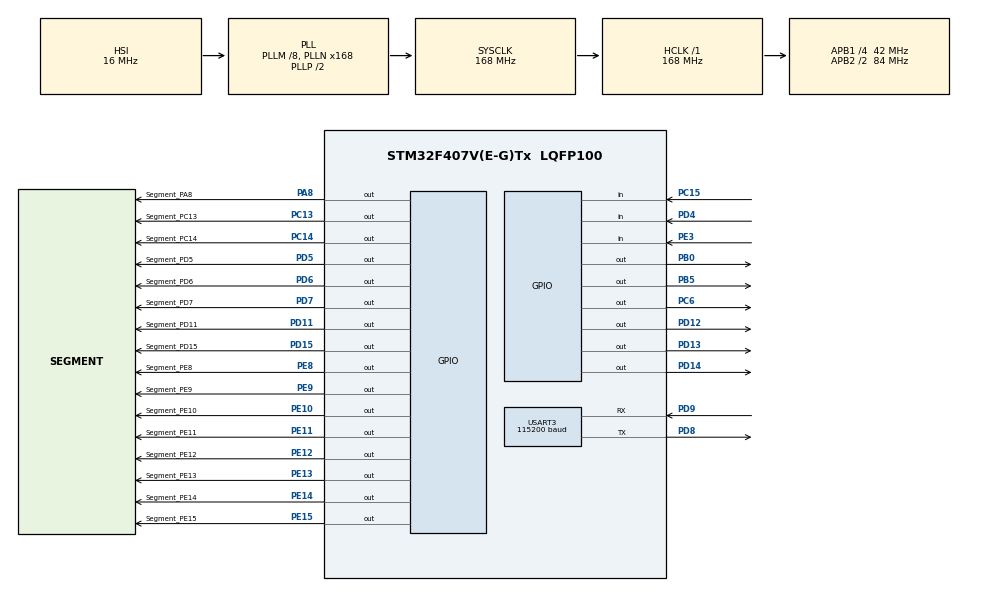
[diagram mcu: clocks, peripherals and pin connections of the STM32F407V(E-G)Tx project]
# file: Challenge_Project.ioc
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Mcu.Family=STM32F4
Mcu.Name=STM32F407V(E-G)Tx
Mcu.Package=LQFP100
NVIC.PriorityGroup=NVIC_PRIORITYGROUP_4
NVIC.TIM6_DAC_IRQn=true\:0\:0\:false\:true\:true\:1\:true\:true\:true
NVIC.USART3_IRQn=true\:0\:0\:false\:true\:true\:2\:true\:true\:true
PA8.GPIO_Label=Segment_PA8
PA8.Signal=GPIO_Output
PA8.Stacked=true
PB0.Signal=GPIO_Output
PB5.Signal=GPIO_Output
PC13-ANTI_TAMP.GPIO_Label=Segment_PC13
PC13-ANTI_TAMP.Signal=GPIO_Output
PC14-OSC32_IN.GPIO_Label=Segment_PC14
PC14-OSC32_IN.Signal=GPIO_Output
PC15-OSC32_OUT.Signal=GPIO_Input
PC6.Signal=GPIO_Output
PD11.GPIO_Label=Segment_PD11
PD11.Signal=GPIO_Output
PD12.Signal=GPIO_Output
PD13.Signal=GPIO_Output
PD14.Signal=GPIO_Output
PD15.GPIO_Label=Segment_PD15
PD15.Signal=GPIO_Output
PD4.Signal=GPIO_Input
PD5.GPIO_Label=Segment_PD5
PD5.Signal=GPIO_Output
PD6.GPIO_Label=Segment_PD6
PD6.Signal=GPIO_Output
PD7.GPIO_Label=Segment_PD7
PD7.Signal=GPIO_Output
PD8.Mode=Asynchronous
PD8.Signal=USART3_TX
PD9.Mode=Asynchronous
PD9.Signal=USART3_RX
PE10.GPIO_Label=Segment_PE10
PE10.Signal=GPIO_Output
PE11.GPIO_Label=Segment_PE11
PE11.Signal=GPIO_Output
PE12.GPIO_Label=Segment_PE12
PE12.Signal=GPIO_Output
PE13.GPIO_Label=Segment_PE13
PE13.Signal=GPIO_Output
PE14.GPIO_Label=Segment_PE14
PE14.Signal=GPIO_Output
PE15.GPIO_Label=Segment_PE15
PE15.Signal=GPIO_Output
PE3.Signal=GPIO_Input
PE8.GPIO_Label=Segment_PE8
PE8.Signal=GPIO_Output
PE9.GPIO_Label=Segment_PE9
PE9.Signal=GPIO_Output
PH0-OSC_IN.Mode=HSE-External-Oscillator
PH0-OSC_IN.Signal=RCC_OSC_IN
PH1-OSC_OUT.Mode=HSE-External-Oscillator
PH1-OSC_OUT.Signal=RCC_OSC_OUT
ProjectManager.HeapSize=0x200
ProjectManager.StackSize=0x400
ProjectManager.TargetToolchain=STM32CubeIDE
RCC.48MHZClocksFreq_Value=84000000
RCC.AHBFreq_Value=168000000
RCC.APB1CLKDivider=RCC_HCLK_DIV4
RCC.APB1Freq_Value=42000000
RCC.APB1TimFreq_Value=84000000
RCC.APB2CLKDivider=RCC_HCLK_DIV2
RCC.APB2Freq_Value=84000000
RCC.APB2TimFreq_Value=168000000
RCC.CortexFreq_Value=168000000
RCC.HCLKFreq_Value=168000000
RCC.HSE_VALUE=8000000
RCC.HSI_VALUE=16000000
RCC.LSE_VALUE=32768
RCC.PLLM=8
RCC.PLLN=168
RCC.SYSCLKFreq_VALUE=168000000
RCC.SYSCLKSource=RCC_SYSCLKSOURCE_PLLCLK
RCC.VCOOutputFreq_Value=336000000
TIM6.AutoReloadPreload=TIM_AUTORELOAD_PRELOAD_ENABLE
TIM6.Period=83
TIM6.Prescaler=999
USART3.BaudRate=115200
USART3.VirtualMode=VM_ASYNC
VP_TIM6_VS_ClockSourceINT.Mode=Enable_Timer
board=custom

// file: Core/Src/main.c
/* USER CODE BEGIN Header */
/**
  ******************************************************************************
  * @file           : main.c
  * @brief          : Main program body
  ******************************************************************************
  * @attention
  *
  * Copyright (c) 2024 STMicroelectronics.
  * All rights reserved.
  *
  * This software is licensed under terms that can be found in the LICENSE file
  * in the root directory of this software component.
  * If no LICENSE file comes with this software, it is provided AS-IS.
  *
  ******************************************************************************
  */
/* USER CODE END Header */
#include "main.h"
#include "tim.h"
#include "usart.h"
#include "gpio.h"

/* USER CODE BEGIN Includes */

#include "7SEG.h"
/* USER CODE END Includes */

/* USER CODE BEGIN PTD */

typedef struct {
    GPIO_TypeDef *port;
    uint16_t pin;
} GPIO_PinConfig;

typedef enum {
	LEFT_LED,
	RIGHT_LED
}SelectLED;
/* USER CODE END PTD */

/* USER CODE BEGIN PV */

GPIO_PinState Button_state[4];

GPIO_PinState last_Button_state[4] = {GPIO_PIN_RESET,GPIO_PIN_RESET,GPIO_PIN_RESET,GPIO_PIN_RESET};

GPIO_PinState led_state[2][3] = {
		{GPIO_PIN_SET,GPIO_PIN_SET,GPIO_PIN_SET},
		{GPIO_PIN_SET,GPIO_PIN_SET,GPIO_PIN_SET}
};

GPIO_PinConfig Buttones[4] = {
    {GPIOE, GPIO_PIN_3},
    {GPIOC, GPIO_PIN_15},
    {GPIOD, GPIO_PIN_4},
	{GPIOD, GPIO_PIN_10}
};

GPIO_PinConfig leds[2][3] = {
    {{GPIOD, GPIO_PIN_12}, {GPIOD, GPIO_PIN_13}, {GPIOD, GPIO_PIN_14}},
    {{GPIOC, GPIO_PIN_6}, {GPIOB, GPIO_PIN_5}, {GPIOB, GPIO_PIN_0}}
};

SelectLED SelectedLED = LEFT_LED;

uint8_t uart3_rx_data;
uint8_t uart3_rx_flag;

uint16_t tim6_counter = 0;
uint8_t dpFlashFlag = 0;

/* USER CODE END PV */

void SystemClock_Config(void);
static void MX_NVIC_Init(void);

int main(void)
{

  /* MCU Configuration--------------------------------------------------------*/

  /* Reset of all peripherals, Initializes the Flash interface and the Systick. */
  HAL_Init();

  /* Configure the system clock */
  SystemClock_Config();

  /* Initialize all configured peripherals */
  MX_GPIO_Init();
  MX_USART3_UART_Init();
  MX_TIM6_Init();

  /* Initialize interrupts */
  MX_NVIC_Init();
  /* USER CODE BEGIN 2 */

  HAL_UART_Receive_IT(&huart3, &uart3_rx_data, sizeof(uart3_rx_data));

  for (uint8_t i = 0; i < 2; i++)
  {
	  for (uint8_t j = 0; j < 3; j++)
	  {
		  HAL_GPIO_WritePin(leds[i][j].port, leds[i][j].pin, GPIO_PIN_SET);
	  }
  }

  //uint8_t led_rx_data;
  uint8_t segment_DP = 0;

  _7SEG_GPIO_Init();
  HAL_TIM_Base_Start_IT(&htim6);
  /* USER CODE END 2 */

  /* Infinite loop */
  while (1)
  {

    /* USER CODE BEGIN 3 */

	  Button_state[0] = HAL_GPIO_ReadPin(Buttones[0].port, Buttones[0].pin);

	  if (Button_state[0] != last_Button_state[0]) {

		  if (last_Button_state[0] == GPIO_PIN_RESET && Button_state[0] == GPIO_PIN_SET) {
			  // PUSH
			  tim6_counter = 0;

			  if (led_state[0][0] == GPIO_PIN_SET) {
				  HAL_GPIO_WritePin(leds[LEFT_LED][0].port, leds[LEFT_LED][0].pin, GPIO_PIN_RESET);
				  led_state[0][0] = GPIO_PIN_RESET;
			  } else {
				  HAL_GPIO_WritePin(leds[LEFT_LED][0].port, leds[LEFT_LED][0].pin, GPIO_PIN_SET);
				  led_state[0][0] = GPIO_PIN_SET;
			  }
		  } else if (last_Button_state[0] == GPIO_PIN_SET && Button_state[0] == GPIO_PIN_RESET) {
			  // PULL
			  if (led_state[1][0] == GPIO_PIN_SET) {
				  HAL_GPIO_WritePin(leds[RIGHT_LED][0].port, leds[RIGHT_LED][0].pin, GPIO_PIN_RESET);
				  led_state[1][0] = GPIO_PIN_RESET;
			  } else {
				  HAL_GPIO_WritePin(leds[RIGHT_LED][0].port, leds[RIGHT_LED][0].pin, GPIO_PIN_SET);
				  led_state[1][0] = GPIO_PIN_SET;
			  }
		  }

		  last_Button_state[0] = Button_state[0];

	  }
	  else if(Button_state[0] == GPIO_PIN_SET)
	  {
		  if(tim6_counter % 500 == 0 && dpFlashFlag)
		  {
			  dpFlashFlag = 0;
			  if(segment_DP == 0)
				  segment_DP = 1;
			  else
				  segment_DP = 0;
		  }
		  _7SEG_SetNumber(DGT1, tim6_counter/1000, segment_DP);
		  _7SEG_SetNumber(DGT2, (tim6_counter/100)%10, OFF);

	  }

  }
  /* USER CODE END 3 */
}

void SystemClock_Config(void)
{
  RCC_OscInitTypeDef RCC_OscInitStruct = {0};
  RCC_ClkInitTypeDef RCC_ClkInitStruct = {0};

  /** Configure the main internal regulator output voltage
  */
  __HAL_RCC_PWR_CLK_ENABLE();
  __HAL_PWR_VOLTAGESCALING_CONFIG(PWR_REGULATOR_VOLTAGE_SCALE1);

  /** Initializes the RCC Oscillators according to the specified parameters
  * in the RCC_OscInitTypeDef structure.
  */
  RCC_OscInitStruct.OscillatorType = RCC_OSCILLATORTYPE_HSI;
  RCC_OscInitStruct.HSIState = RCC_HSI_ON;
  RCC_OscInitStruct.HSICalibrationValue = RCC_HSICALIBRATION_DEFAULT;
  RCC_OscInitStruct.PLL.PLLState = RCC_PLL_ON;
  RCC_OscInitStruct.PLL.PLLSource = RCC_PLLSOURCE_HSI;
  RCC_OscInitStruct.PLL.PLLM = 8;
  RCC_OscInitStruct.PLL.PLLN = 168;
  RCC_OscInitStruct.PLL.PLLP = RCC_PLLP_DIV2;
  RCC_OscInitStruct.PLL.PLLQ = 4;
  if (HAL_RCC_OscConfig(&RCC_OscInitStruct) != HAL_OK)
  {
    Error_Handler();
  }

  /** Initializes the CPU, AHB and APB buses clocks
  */
  RCC_ClkInitStruct.ClockType = RCC_CLOCKTYPE_HCLK|RCC_CLOCKTYPE_SYSCLK
                              |RCC_CLOCKTYPE_PCLK1|RCC_CLOCKTYPE_PCLK2;
  RCC_ClkInitStruct.SYSCLKSource = RCC_SYSCLKSOURCE_PLLCLK;
  RCC_ClkInitStruct.AHBCLKDivider = RCC_SYSCLK_DIV1;
  RCC_ClkInitStruct.APB1CLKDivider = RCC_HCLK_DIV4;
  RCC_ClkInitStruct.APB2CLKDivider = RCC_HCLK_DIV2;

  if (HAL_RCC_ClockConfig(&RCC_ClkInitStruct, FLASH_LATENCY_5) != HAL_OK)
  {
    Error_Handler();
  }
}

/**
  * @brief NVIC Configuration.
  * @retval None
  */
static void MX_NVIC_Init(void)
{
  /* TIM6_DAC_IRQn interrupt configuration */
  HAL_NVIC_SetPriority(TIM6_DAC_IRQn, 0, 0);
  HAL_NVIC_EnableIRQ(TIM6_DAC_IRQn);
  /* USART3_IRQn interrupt configuration */
  HAL_NVIC_SetPriority(USART3_IRQn, 0, 0);
  HAL_NVIC_EnableIRQ(USART3_IRQn);
}

/* USER CODE BEGIN 4 */

void HAL_UART_RxCpltCallback(UART_HandleTypeDef *huart)
{
	if(huart->Instance == USART3) {
		HAL_UART_Receive_IT(&huart3, &uart3_rx_data, sizeof(uart3_rx_data));
		uart3_rx_flag = 1;
	}
}

void HAL_TIM_PeriodElapsedCallback(TIM_HandleTypeDef *htim)
{
	if(htim->Instance == TIM6)
	{
		if(tim6_counter>10000) tim6_counter = 0;
		tim6_counter += 1;
		dpFlashFlag = 1;
	}
}

/* USER CODE END 4 */

void Error_Handler(void)
{
  __disable_irq();
  while (1)
  {
  }
}
